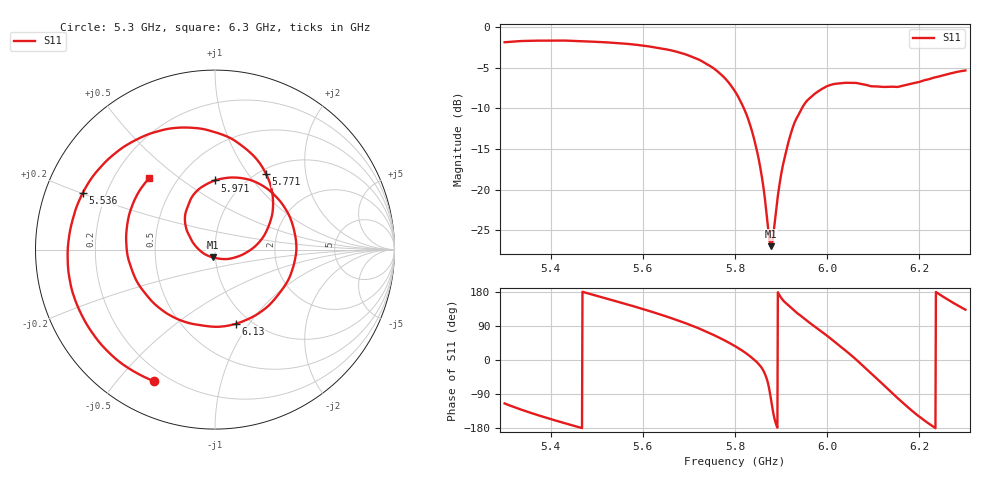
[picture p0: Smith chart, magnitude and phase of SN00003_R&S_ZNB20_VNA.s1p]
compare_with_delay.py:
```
"""
Compare measurement vs simulation with automatic phase rotation correction
"""

import skrf as rf
import matplotlib.pyplot as plt
import numpy as np
from scipy.optimize import minimize_scalar

def apply_phase_rotation(ntwk, phase_degrees):
    """
    Apply a constant phase rotation to S11 parameters.

    Parameters:
    - ntwk: scikit-rf Network object
    - phase_degrees: phase rotation in degrees

    Returns:
    - modified Network object
    """
    ntwk_rotated = ntwk.copy()
    # Apply constant phase rotation (frequency-independent)
    phase_rad = phase_degrees * np.pi / 180
    ntwk_rotated.s[:, 0, 0] = ntwk.s[:, 0, 0] * np.exp(1j * phase_rad)
    return ntwk_rotated

def calculate_phase_difference_rms(measured, simulated, phase_degrees, min_freq_ghz=None):
    """
    Calculate RMS phase difference between measured and simulated data
    after applying a phase rotation to the simulation.

    Parameters:
    - min_freq_ghz: Minimum frequency in GHz to include in calculation (None = all frequencies)
    """
    # Interpolate simulated to match measured frequency points
    sim_interp = simulated.interpolate(measured.frequency)
    sim_rotated = apply_phase_rotation(sim_interp, phase_degrees)

    # Get phases in radians and unwrap individually
    phase_measured = np.unwrap(np.angle(measured.s[:, 0, 0]))
    phase_simulated = np.unwrap(np.angle(sim_rotated.s[:, 0, 0]))

    # Calculate phase difference after unwrapping (convert to degrees)
    phase_diff = (phase_measured - phase_simulated) * 180 / np.pi

    # Apply frequency filter if specified
    if min_freq_ghz is not None:
        freq_mask = measured.f >= (min_freq_ghz * 1e9)
        phase_diff = phase_diff[freq_mask]

    # Calculate RMS
    rms = np.sqrt(np.mean(phase_diff**2))
    return rms

def find_optimal_phase_rotation(measured, simulated, min_freq_ghz=5.3):
    """
    Find the optimal phase rotation angle that minimizes phase difference.

    Parameters:
    - min_freq_ghz: Minimum frequency in GHz to include in optimization
    """
    # Interpolate simulated to match measured frequency points
    sim_interp = simulated.interpolate(measured.frequency)

    # Apply frequency filter
    freq_mask = measured.f >= (min_freq_ghz * 1e9)
    print(f"\nOptimization frequency range: >= {min_freq_ghz:.1f} GHz")
    print(f"Using {np.sum(freq_mask)} of {len(measured.f)} frequency points")

    # Initial guess: mean phase difference (filtered)
    phase_measured = np.unwrap(np.angle(measured.s[:, 0, 0]))
    phase_simulated = np.unwrap(np.angle(sim_interp.s[:, 0, 0]))
    phase_diff_rad = phase_measured - phase_simulated

    # Apply filter
    phase_diff_rad_filtered = phase_diff_rad[freq_mask]

    # Convert to degrees and get mean
    phase_diff_deg = phase_diff_rad_filtered * 180 / np.pi
    initial_phase = np.mean(phase_diff_deg)

    print(f"Initial phase offset estimate (mean): {initial_phase:.2f} degrees")
    print(f"Phase difference std dev: {np.std(phase_diff_deg):.2f} degrees")

    # Optimize to find best phase rotation
    # Extended range to handle cases where optimal value is near ±180°
    result = minimize_scalar(
        lambda p: calculate_phase_difference_rms(measured, simulated, p, min_freq_ghz),
        bounds=(-360, 360),  # Extended search range for better convergence
        method='bounded'
    )

    optimal_phase = result.x
    # Normalize to [-180, 180] range for display
    optimal_phase_normalized = ((optimal_phase + 180) % 360) - 180

    print(f"Optimized phase rotation: {optimal_phase:.2f} degrees (normalized: {optimal_phase_normalized:.2f}°)")
    print(f"RMS phase error after correction: {result.fun:.2f} degrees")

    # Calculate equivalent reference plane shift at center frequency
    # Note: This is for reference only - the actual correction is frequency-independent
    center_freq = (measured.f[0] + measured.f[-1]) / 2
    phase_rad = optimal_phase * np.pi / 180
    # For S11 (reflection), phase shift = -2 * 2π * f * (d/c)
    # Solving for d: d = -phase / (2 * 2π * f) * c
    equivalent_distance = -phase_rad / (2 * 2 * np.pi * center_freq) * 3e8

    print(f"\nEquivalent reference plane shift at {center_freq/1e9:.2f} GHz: {equivalent_distance*1000:.2f} mm")
    print("(Note: Actual correction is a constant phase rotation, not a physical shift)")

    return optimal_phase, equivalent_distance

def main():
    # Load the two files
    measured_file = "SN00003_R&S_ZNB20_VNA.s1p"
    simulated_file = "openEms 20th lambda cell er=2.95.s1p"

    print(f"Loading measurement: {measured_file}")
    ntwk_measured = rf.Network(measured_file)

    print(f"Loading simulation: {simulated_file}")
    ntwk_simulated = rf.Network(simulated_file)

    print(f"\nMeasurement frequency points: {len(ntwk_measured.f)}")
    print(f"Simulation frequency points: {len(ntwk_simulated.f)}")
    print(f"Measurement frequency range: {ntwk_measured.f[0]/1e9:.3f} - {ntwk_measured.f[-1]/1e9:.3f} GHz")
    print(f"Simulation frequency range: {ntwk_simulated.f[0]/1e9:.3f} - {ntwk_simulated.f[-1]/1e9:.3f} GHz")

    # Interpolate simulation to match measurement frequency grid
    print("\nInterpolating simulation to match measurement frequency grid...")
    ntwk_sim_interp = ntwk_simulated.interpolate(ntwk_measured.frequency)

    print("\n" + "="*60)
    print("Finding optimal phase rotation to match simulation to measurement...")
    print("="*60)

    # Find optimal phase rotation
    optimal_phase, equiv_distance = find_optimal_phase_rotation(ntwk_measured, ntwk_sim_interp)

    # Apply optimal phase rotation
    ntwk_sim_corrected = apply_phase_rotation(ntwk_sim_interp, optimal_phase)

    print("\n" + "="*60)
    print("Creating comparison plots...")
    print("="*60)

    # Create matplotlib figure with 2x2 subplots
    fig, ((ax1, ax2), (ax3, ax4)) = plt.subplots(2, 2, figsize=(16, 12))
    center_freq_ghz = (ntwk_measured.f[0] + ntwk_measured.f[-1]) / 2 / 1e9
    fig.suptitle(f'Measurement vs Simulation (Phase Rotation: {optimal_phase:.2f}° ≈ {equiv_distance*1000:.2f} mm at {center_freq_ghz:.2f} GHz)',
                 fontsize=16, fontweight='bold')

    freq_ghz = ntwk_measured.f / 1e9

    # 1. Magnitude comparison (top-left)
    s11_meas_db = 20 * np.log10(np.abs(ntwk_measured.s[:, 0, 0]))
    s11_sim_db = 20 * np.log10(np.abs(ntwk_sim_interp.s[:, 0, 0]))

    ax1.plot(freq_ghz, s11_meas_db, 'b-', linewidth=2, label='Measured')
    ax1.plot(freq_ghz, s11_sim_db, 'r--', linewidth=2, label='Simulation (Original)')
    ax1.set_xlabel('Frequency (GHz)')
    ax1.set_ylabel('Magnitude (dB)')
    ax1.set_title('S11 Magnitude Comparison', fontweight='bold')
    ax1.grid(True, alpha=0.3)
    ax1.legend()

    # 2. Phase comparison (top-right) - show all three: measured, original, corrected
    # Unwrap phase to avoid 180-degree jumps
    phase_meas_rad = np.angle(ntwk_measured.s[:, 0, 0])
    phase_sim_orig_rad = np.angle(ntwk_sim_interp.s[:, 0, 0])
    phase_sim_corr_rad = np.angle(ntwk_sim_corrected.s[:, 0, 0])

    phase_meas = np.unwrap(phase_meas_rad) * 180 / np.pi
    phase_sim_orig = np.unwrap(phase_sim_orig_rad) * 180 / np.pi
    phase_sim_corr = np.unwrap(phase_sim_corr_rad) * 180 / np.pi

    ax2.plot(freq_ghz, phase_meas, 'b-', linewidth=2, label='Measured')
    ax2.plot(freq_ghz, phase_sim_orig, 'r--', linewidth=2, label='Simulation (Original)')
    ax2.plot(freq_ghz, phase_sim_corr, 'g-', linewidth=2, label='Simulation (Corrected)')
    ax2.set_xlabel('Frequency (GHz)')
    ax2.set_ylabel('Phase (degrees)')
    ax2.set_title('S11 Phase Comparison', fontweight='bold')
    ax2.grid(True, alpha=0.3)
    ax2.legend()

    # 3. Smith chart (bottom-left) - use scikit-rf plotting
    ax3.set_title('Smith Chart', fontweight='bold')
    ntwk_measured.plot_s_smith(m=0, n=0, ax=ax3, label='Measured',
                                show_legend=False, draw_labels=False, color='blue')
    ntwk_sim_interp.plot_s_smith(m=0, n=0, ax=ax3, label='Simulation (Original)',
                                  show_legend=False, draw_labels=False,
                                  color='red', linestyle='--')
    ntwk_sim_corrected.plot_s_smith(m=0, n=0, ax=ax3, label='Simulation (Corrected)',
                                     show_legend=False, draw_labels=False, color='green')
    ax3.legend(fontsize=10)

    # 4. Phase differences (bottom-right) - both before and after on same plot
    phase_diff_before = np.unwrap((phase_meas - phase_sim_orig) * np.pi / 180) * 180 / np.pi
    phase_diff_after = np.unwrap((phase_meas - phase_sim_corr) * np.pi / 180) * 180 / np.pi

    ax4.plot(freq_ghz, phase_diff_before, 'r-', linewidth=2, label='Before Correction')
    ax4.plot(freq_ghz, phase_diff_after, 'g-', linewidth=2, label='After Correction')
    ax4.axhline(y=0, color='gray', linestyle=':', linewidth=1)
    ax4.set_xlabel('Frequency (GHz)')
    ax4.set_ylabel('Phase Error (degrees)')
    ax4.set_title('Phase Difference', fontweight='bold')
    ax4.grid(True, alpha=0.3)
    ax4.legend()

    plt.tight_layout()

    # Save outputs
    output_png = 'comparison_with_delay.png'
    plt.savefig(output_png, dpi=150, bbox_inches='tight')
    print(f"\nPlot saved to: {output_png}")

    # Show plot
    plt.show()

    print("\n" + "="*60)
    print("Analysis complete!")
    print("="*60)

if __name__ == "__main__":
    main()
```
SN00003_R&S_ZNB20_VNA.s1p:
#  HZ  S  RI  R  50.00
! Rohde & Schwarz Vector Network Analyzer
! Rohde-Schwarz,ZNB20-2Port,1311601062101736,3.50
! Created: UTC 3/2/2026, 5:03:50 PM
! freq[Hz]  re:S11  im:S11
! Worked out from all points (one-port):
!   1001 points, 5.3 GHz to 6.3 GHz, reference 50 ohm
!   lowest |S11| = -27.0 dB at 5.878 GHz (marker M1), VSWR 1.09, Z = 48.8 - j4.28 ohm
!   |S11| at or under -10 dB: 5.819 GHz to 5.945 GHz (125.7 MHz wide, 2.14 % of centre)
!   S11 on the Smith chart (normalised r, x): 5.3 GHz: 0.15, -0.63; 5.536 GHz: 0.11, +0.20; 5.771 GHz: 1.08, +1.22; 5.971 GHz: 0.74, +0.67; 6.13 GHz: 0.85, -0.87; 6.3 GHz: 0.35, +0.39
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5.3e9  -0.3373 -0.734
5.416e9  -0.7862 -0.2607
5.536e9  -0.7375 0.3141
5.634e9  -0.3911 0.6346
5.771e9  0.2853 0.4199
5.835e9  0.2367 0.031
5.878e9  -0.0101 -0.0437
5.919e9  -0.1638 0.1328
5.967e9  -0.0245 0.3757
5.971e9  -0.00108 0.385
6.059e9  0.4518 0.043
6.13e9  0.115 -0.4137
6.214e9  -0.451 -0.1441
6.3e9  -0.3685 0.3969
